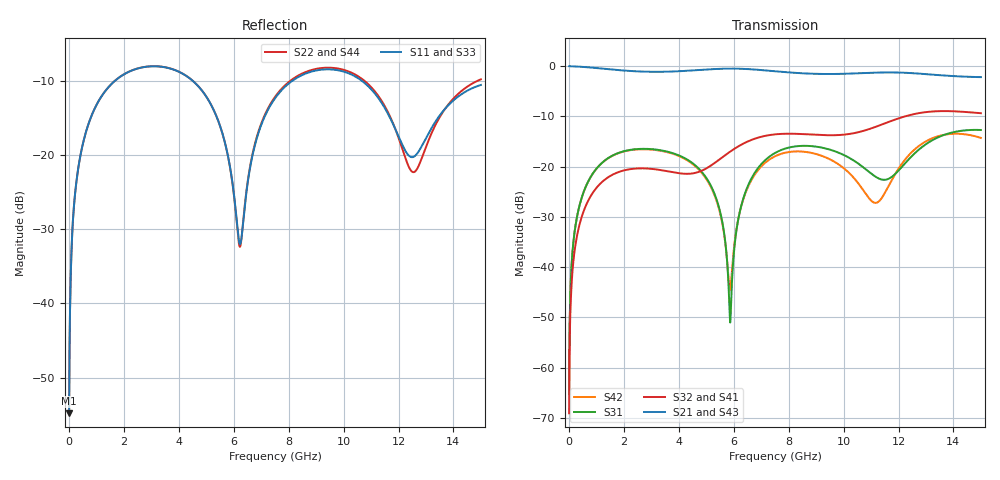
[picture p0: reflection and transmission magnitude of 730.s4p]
! Created with skrf 1.8.0 (http://scikit-rf.org).
# GHz S RI R 50.0
!freq ReS11 ImS11 ReS12 ImS12 ReS13 ImS13
! ReS14 ImS14
! ReS21 ImS21 ReS22 ImS22 ReS23 ImS23
! ReS24 ImS24
! ReS31 ImS31 ReS32 ImS32 ReS33 ImS33
! ReS34 ImS34
! ReS41 ImS41 ReS42 ImS42 ReS43 ImS43
! ReS44 ImS44
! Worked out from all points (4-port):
!   2499 points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, 5 MHz to 15 GHz, reference 50 ohm
!   strongest paths, dB at 5 MHz, 3.476 GHz, 7.19 GHz, 11.1 GHz, 15 GHz:
!     S21: 0.0, -1.1, -0.9, -1.3, -2.2
!     S43: 0.0, -1.1, -0.9, -1.3, -2.2
!     S32: -69.1, -20.8, -13.8, -12.2, -9.4
!     S41: -69.1, -20.9, -13.8, -12.2, -9.4
!     S31: -65.2, -16.9, -18.5, -21.7, -12.7
!     S42: -65.2, -17.0, -19.0, -27.1, -14.3
!   lowest |S11| = -54.8 dB at 5 MHz (marker M1), VSWR 1.00, Z = 50.1 + j0.111 ohm
!   |S11| at or under -10 dB: start of sweep to 1.675 GHz; 4.503 GHz to 8.135 GHz (3.632 GHz wide, 57.5 % of centre); 10.66 GHz to end of sweep
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0.005  0.00144 0.0011  0.9985 -0.00281  7.1e-05 0.000545  -6.91e-05 -0.000346
       0.9985 -0.00281  0.00144 0.0011  -6.91e-05 -0.000346  7.1e-05 0.000545
       7.1e-05 0.000545  -6.91e-05 -0.000346  0.00144 0.0011  0.9985 -0.00281
       -6.91e-05 -0.000346  7.1e-05 0.000545  0.9985 -0.00281  0.00144 0.0011
0.3126303  0.0194 0.0732  0.9737 -0.1757  0.00841 0.0328  -0.00699 -0.0207
           0.9737 -0.1757  0.0194 0.0732  -0.007 -0.0207  0.00827 0.0328
           0.00841 0.0328  -0.007 -0.0207  0.0194 0.0732  0.9737 -0.1757
           -0.00699 -0.0207  0.00827 0.0328  0.9737 -0.1757  0.0194 0.0732
1.569404  0.2357 0.1911  0.6216 -0.6847  0.1104 0.0653  -0.0808 -0.0175
          0.6216 -0.6847  0.2363 0.1908  -0.0809 -0.0174  0.1084 0.0675
          0.1104 0.0653  -0.0809 -0.0174  0.2357 0.1911  0.6216 -0.6847
          -0.0808 -0.0175  0.1084 0.0675  0.6216 -0.6847  0.2364 0.1907
4.845769  0.1963 -0.1868  -0.6445 -0.655  0.0448 -0.0758  -0.0435 0.0799
          -0.6445 -0.655  0.1949 -0.1888  -0.0426 0.0809  0.0482 -0.0714
          0.0448 -0.0758  -0.0426 0.0809  0.1967 -0.1863  -0.6445 -0.6549
          -0.0435 0.0799  0.0482 -0.0714  -0.6445 -0.6549  0.1946 -0.1894
5.871196  0.038 -0.0724  -0.9138 -0.2374  -0.0028 0.000304  -0.0323 0.1374
          -0.9138 -0.2374  0.0365 -0.0724  -0.0303 0.1379  -0.00593 0.000756
          -0.0028 0.000304  -0.0303 0.1379  0.0388 -0.072  -0.9138 -0.2372
          -0.0323 0.1374  -0.00593 0.000756  -0.9138 -0.2372  0.0356 -0.0725
9.629012  0.3755 -0.0191  0.00884 0.8348  0.095 -0.1082  0.1993 -0.046
          0.00884 0.8348  0.3846 -0.0329  0.1991 -0.0505  0.0931 -0.0648
          0.095 -0.1082  0.1991 -0.0505  0.3772 -0.0201  0.00912 0.8338
          0.1993 -0.046  0.0931 -0.0648  0.00912 0.8338  0.3873 -0.0321
15  0.2913 0.0542  0.375 -0.6806  0.2229 -0.0628  -0.3229 -0.0974
    0.375 -0.6806  0.316 0.0682  -0.3286 -0.088  0.1928 0.00886
    0.2229 -0.0628  -0.3286 -0.088  0.2868 0.057  0.3741 -0.6811
    -0.3229 -0.0974  0.1928 0.00886  0.3741 -0.6811  0.32 0.0648
